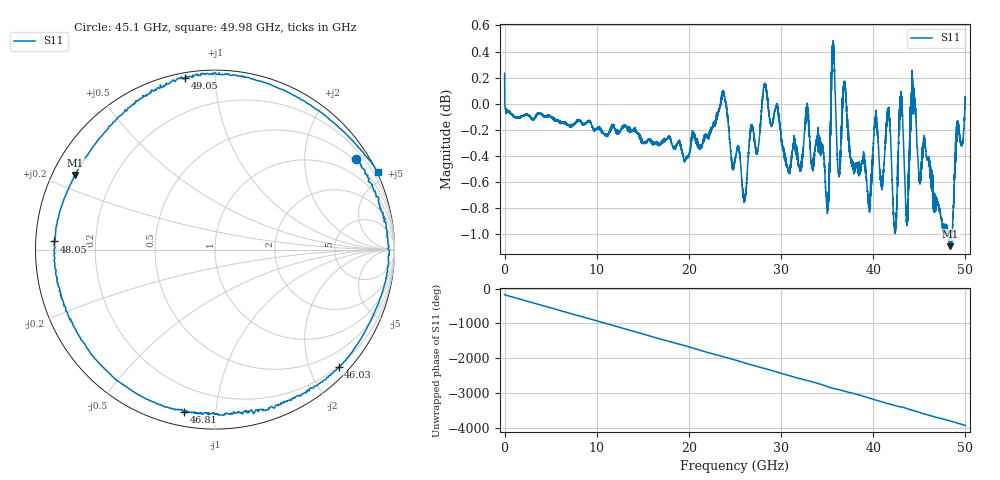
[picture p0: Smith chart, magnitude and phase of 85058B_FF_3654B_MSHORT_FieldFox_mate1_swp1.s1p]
!Created with skrf (http://scikit-rf.org).
# Hz S RI R 50.0
!freq ReS11 ImS11
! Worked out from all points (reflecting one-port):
!   10001 points, 300 kHz to 50 GHz, reference 50 ohm
!   lowest |S11| = -1.1 dB at 48.38 GHz (marker M1), VSWR 15.96, Z = 3.33 + j12.5 ohm
!   phase of S11 starts at -173 deg and turns -3763 deg over the sweep
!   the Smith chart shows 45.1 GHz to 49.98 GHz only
!   S11 on the Smith chart (normalised r, x): 45.1 GHz: 0.43, +3.36; 46.03 GHz: 0.18, -2.49; 46.81 GHz: 0.07, -0.82; 48.05 GHz: 0.05, +0.03; 49.05 GHz: 0.02, +0.84; 49.98 GHz: -0.06, +4.40
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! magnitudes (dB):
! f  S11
! 300 kHz  0.2
! 6.25 GHz  -0.1
! 12.5 GHz  -0.2
! 18.75 GHz  -0.3
! 23.74 GHz  0.1
! 25 GHz  -0.4
! 26.06 GHz  -0.7
! 28.25 GHz  0.2
! 31.25 GHz  -0.3
! 35.02 GHz  -0.8
! 35.66 GHz  0.4
! 36.23 GHz  -0.5
! 36.87 GHz  0.2
! 37.5 GHz  -0.4
! 39.57 GHz  -0.7
! 41.64 GHz  -0.1
! 42.35 GHz  -1.0
! 43.02 GHz  0.0
! 43.75 GHz  -0.8
! 44.34 GHz  0.1
! 45.1 GHz  -0.6
! 46.03 GHz  -0.4
! 46.81 GHz  -0.7
! 48.05 GHz  -0.9
! 48.38 GHz  -1.1
! 49.05 GHz  -0.2
! 49.98 GHz  0.1
! 50 GHz  0.0
